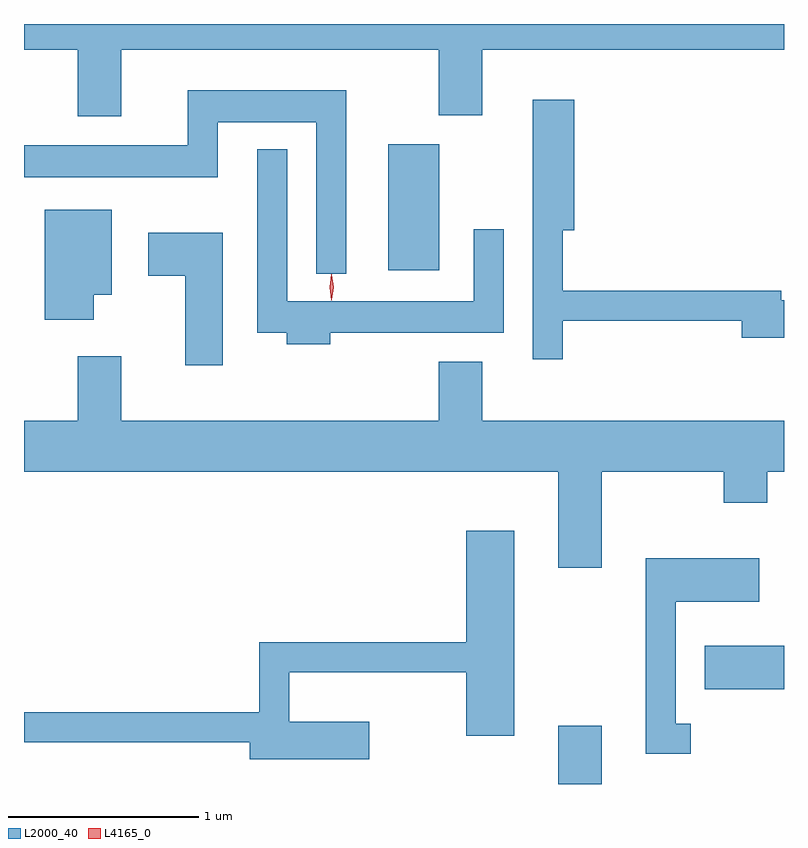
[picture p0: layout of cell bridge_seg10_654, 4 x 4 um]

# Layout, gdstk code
import gdstk
lib = gdstk.Library(unit=1e-6, precision=1e-09)
def R(c, l, rs):  # rectangles x0, y0, x1, y1
    for r in rs: c.add(gdstk.rectangle(r[:2], r[2:], *l))
def P(c, l, *ps):  # polygons
    for p in ps: c.add(gdstk.Polygon(p, *l))
L2000_40 = (2000, 40)
L4165_0 = (4165, 0)

bridge_seg10_654 = lib.new_cell('bridge_seg10_654')
R(bridge_seg10_654, L2000_40, [(1044.211,2123.372,1044.439,2123.679), (1044.981,2123.871,1045.398,2124.099), (1043.316,2126.076,1043.584,2126.739)])
P(bridge_seg10_654, L2000_40, [(1041.398,2127.236),(1041.681,2127.236),(1041.681,2126.886),(1041.909,2126.886),(1041.909,2127.236),(1043.581,2127.236),(1043.581,2126.891),(1043.809,2126.891),(1043.809,2127.236),(1045.398,2127.236),(1045.398,2127.372),(1041.398,2127.372)],
  [(1043.094,2127.024),(1042.261,2127.024),(1042.261,2126.734),(1041.398,2126.734),(1041.398,2126.566),(1042.419,2126.566),(1042.419,2126.856),(1042.936,2126.856),(1042.936,2126.058),(1043.094,2126.058)],
  [(1044.234,2125.811),(1045.176,2125.811),(1045.176,2125.721),(1045.398,2125.721),(1045.398,2125.919),(1045.384,2125.919),(1045.384,2125.969),(1044.234,2125.969),(1044.234,2126.286),(1044.294,2126.286),(1044.294,2126.974),(1044.076,2126.974),(1044.076,2125.608),(1044.234,2125.608)],
  [(1043.009,2125.746),(1043.924,2125.746),(1043.924,2126.293),(1043.766,2126.293),(1043.766,2125.914),(1042.784,2125.914),(1042.784,2126.713),(1042.626,2126.713),(1042.626,2125.746),(1042.781,2125.746),(1042.781,2125.686),(1043.009,2125.686)],
  [(1041.764,2125.946),(1041.859,2125.946),(1041.859,2126.394),(1041.506,2126.394),(1041.506,2125.816),(1041.764,2125.816)],
  [(1042.444,2126.274),(1042.051,2126.274),(1042.051,2126.046),(1042.246,2126.046),(1042.246,2125.576),(1042.444,2125.576)],
  [(1044.439,2125.016),(1045.081,2125.016),(1045.081,2124.851),(1045.309,2124.851),(1045.309,2125.016),(1045.398,2125.016),(1045.398,2125.284),(1043.809,2125.284),(1043.809,2125.594),(1043.581,2125.594),(1043.581,2125.284),(1041.909,2125.284),(1041.909,2125.624),(1041.681,2125.624),(1041.681,2125.284),(1041.398,2125.284),(1041.398,2125.016),(1044.211,2125.016),(1044.211,2124.511),(1044.439,2124.511)],
  [(1043.214,2123.699),(1042.794,2123.699),(1042.794,2123.961),(1043.726,2123.961),(1043.726,2123.626),(1043.979,2123.626),(1043.979,2124.704),(1043.726,2124.704),(1043.726,2124.119),(1042.636,2124.119),(1042.636,2123.749),(1041.398,2123.749),(1041.398,2123.591),(1042.586,2123.591),(1042.586,2123.501),(1043.214,2123.501)],
  [(1044.908,2123.689),(1044.829,2123.689),(1044.829,2124.331),(1045.269,2124.331),(1045.269,2124.559),(1044.671,2124.559),(1044.671,2123.531),(1044.908,2123.531)])
P(bridge_seg10_654, L4165_0, [(1043.016,2125.917),(1043.016,2125.918),(1043.006,2125.987),(1043.016,2126.056),(1043.016,2126.056),(1043.017,2126.056),(1043.026,2125.987),(1043.017,2125.918)],
  [(1043.017,2125.919),(1043.017,2125.92),(1043.007,2125.986),(1043.017,2126.052),(1043.017,2126.053),(1043.018,2126.052),(1043.027,2125.986),(1043.018,2125.92)])

lib.write_gds('bridge_seg10_654.gds')
